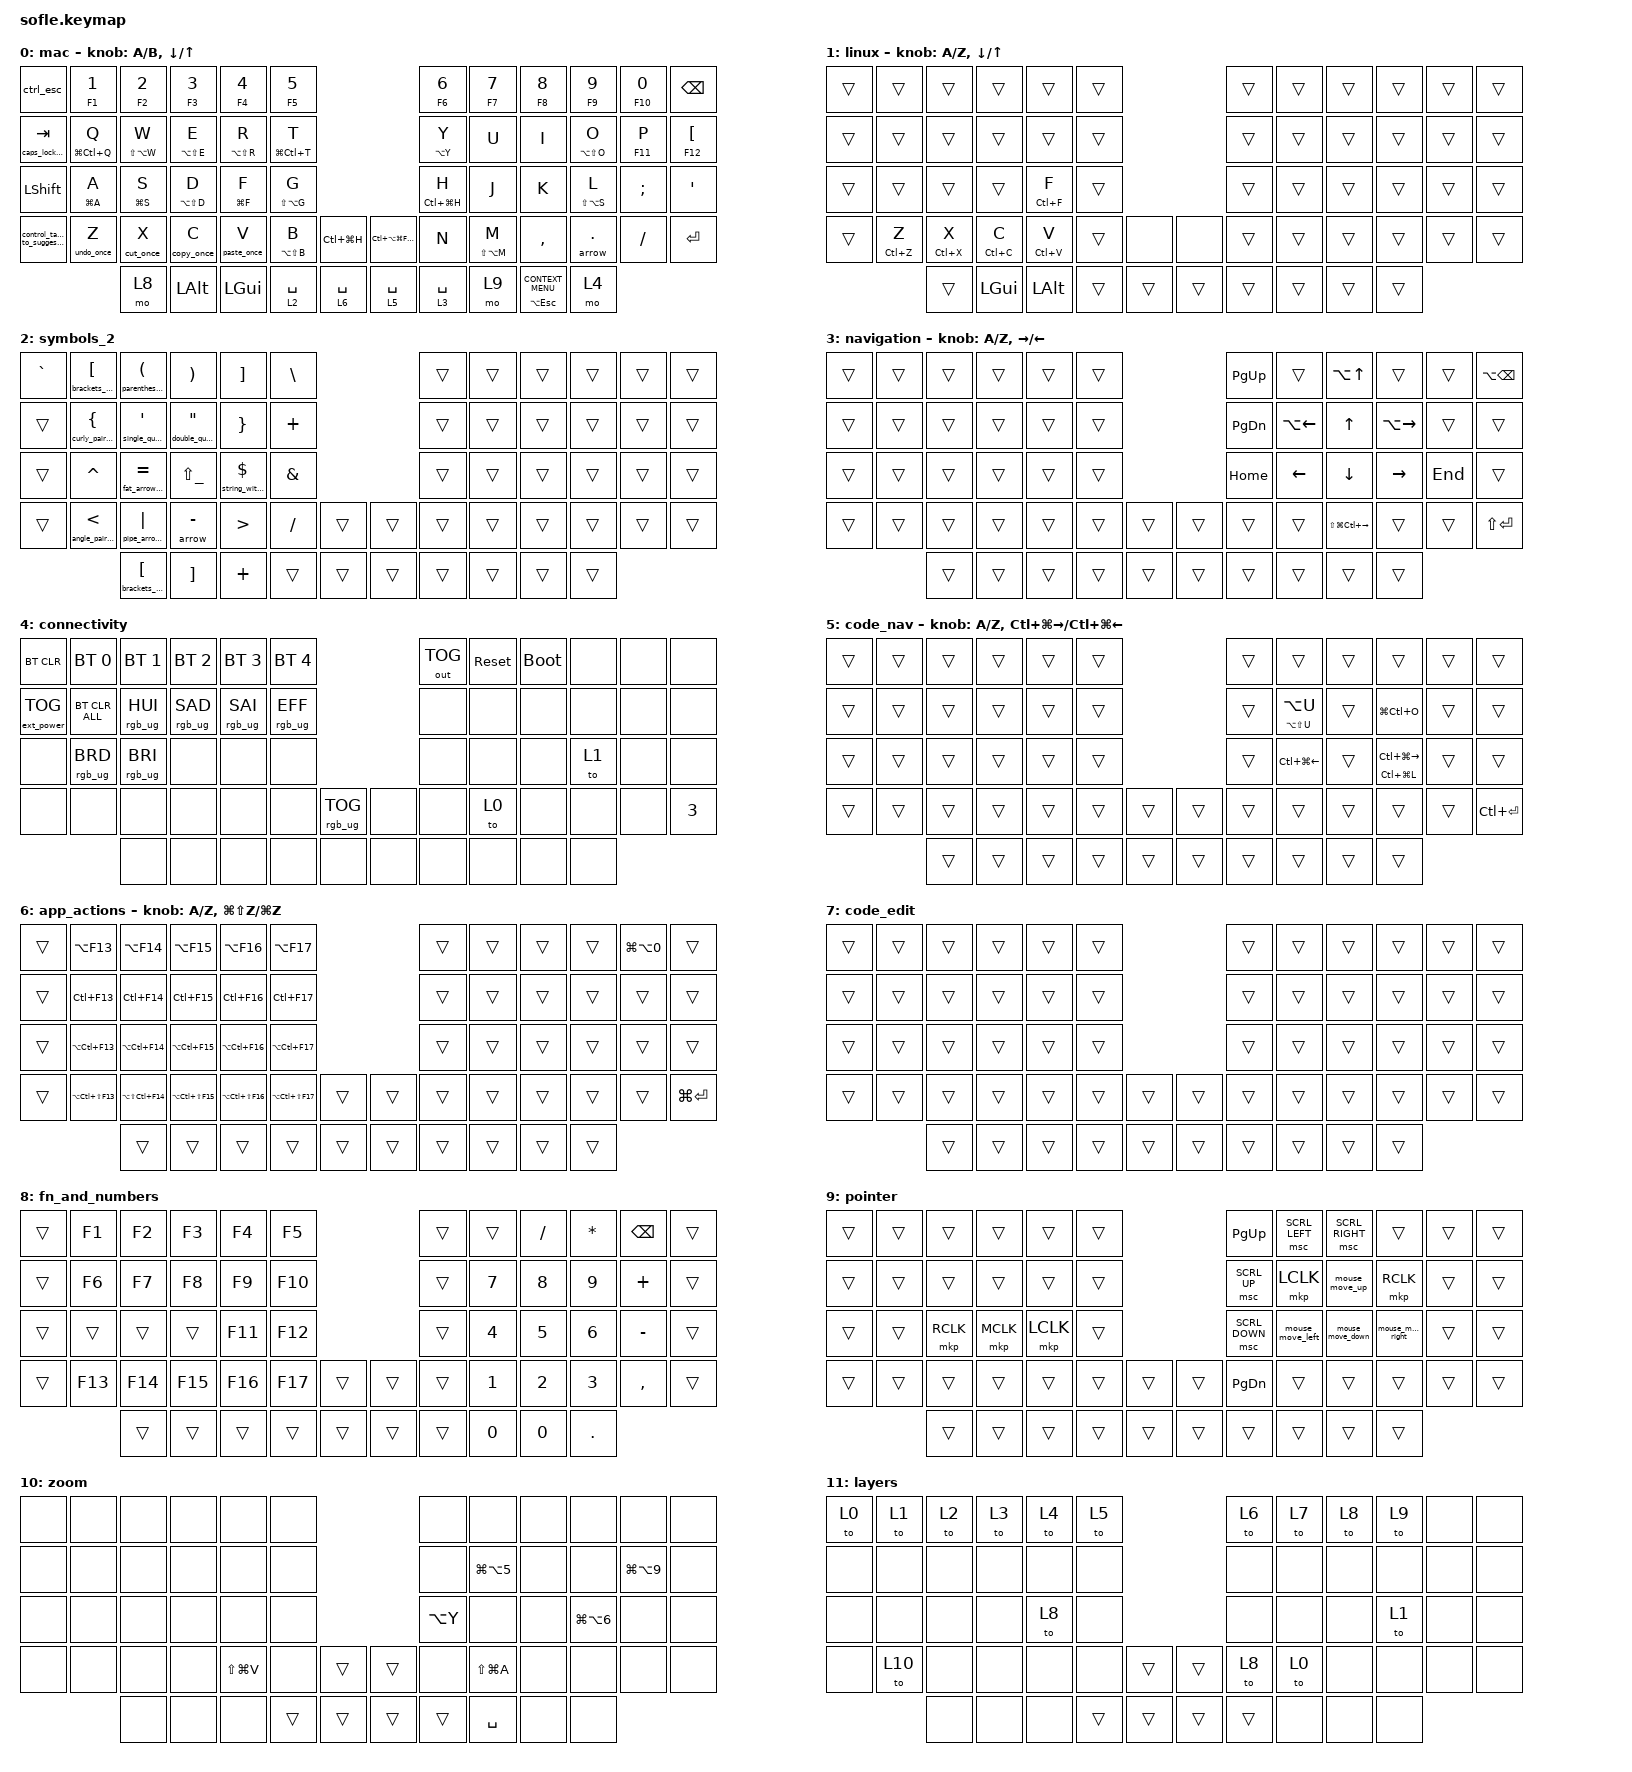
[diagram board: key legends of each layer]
/*
 * Copyright (c) 2020 The ZMK Contributors
 *
 * SPDX-License-Identifier: MIT
 */

#define ZMK_POINTING_DEFAULT_MOVE_VAL 800  // default: 600
#define ZMK_POINTING_DEFAULT_SCRL_VAL 10    // default: 10

#include <behaviors.dtsi>
#include <dt-bindings/zmk/bt.h>
#include <dt-bindings/zmk/ext_power.h>
#include <dt-bindings/zmk/keys.h>
#include <dt-bindings/zmk/outputs.h>
#include <dt-bindings/zmk/pointing.h>
#include <dt-bindings/zmk/pointing.h>
#include <dt-bindings/zmk/pointing.h>
#include <dt-bindings/zmk/rgb.h>

#define OUTPUT_SOURCE_KEYCODE_STATE_CHANGE 3
#define MAC_BASE_LAYER 0
#define LINUX_LAYER 1
#define SYMBOLS_2_LAYER 2
#define NAVIGATION_LAYER 3
#define CONNECTIVITY_LAYER 4
#define CODE_NAVIGATION_LAYER 5
#define SYMBOLS_LAYER 6

&left_encoder { status = "disabled"; };

&right_encoder {
    status = "ok";
    steps = <120>;
};

&sensors { triggers-per-rotation = <30>; };

/ {
    behaviors {
        double_space_to_enter: double_space_to_enter {
            compatible = "zmk,behavior-tap-dance";
            #binding-cells = <0>;
            bindings = <&lt 2 SPACE>, <&kp ENTER>;
        };

        f4_enter: f4_enter {
            compatible = "zmk,behavior-hold-tap";
            bindings = <&kp>, <&kp>;

            #binding-cells = <2>;
            tapping-term-ms = <200>;
        };

        gresc_ctrl: gresc_ctrl {
            compatible = "zmk,behavior-mod-morph";
            bindings = <&kp ESCAPE>, <&kp GRAVE>;

            #binding-cells = <0>;
            mods = <(MOD_LCTL|MOD_LGUI|MOD_LSFT|MOD_LALT)>;
        };

        dot_arrow: dot_arrow {
            compatible = "zmk,behavior-hold-tap";
            bindings = <&arrow>, <&kp>;

            #binding-cells = <2>;
            tapping-term-ms = <200>;
            flavor = "tap-preferred";
        };

        delayed_tap_hold_one: delayed_tap_hold_one {
            compatible = "zmk,behavior-hold-tap";
            bindings = <&kp>, <&kp>;

            #binding-cells = <2>;
            tapping-term-ms = <300>;
            flavor = "tap-preferred";
            require-prior-idle-ms = <200>;
        };

        hold_on_tab_mt: hold_on_tab_mt {
            compatible = "zmk,behavior-hold-tap";
            bindings = <&mt>, <&kp>;

            #binding-cells = <2>;
            tapping-term-ms = <400>;
            flavor = "tap-preferred";
        };

        shift_caps: shift_caps {
            compatible = "zmk,behavior-tap-dance";
            #binding-cells = <0>;
            bindings = <&kp LEFT_SHIFT>, <&kp CAPSLOCK>;
        };

        only_hold: only_hold {
            compatible = "zmk,behavior-hold-tap";
            bindings = <&kp>, <&none>;

            #binding-cells = <2>;
            tapping-term-ms = <400>;
            flavor = "tap-preferred";
        };

        only_tap_none_hold: only_tap_none_hold {
            compatible = "zmk,behavior-hold-tap";
            bindings = <&none>, <&kp>;

            #binding-cells = <2>;
            tapping-term-ms = <200>;
        };

        paste_on_hold_once: paste_on_hold_once {
            compatible = "zmk,behavior-hold-tap";
            bindings = <&paste_once>, <&kp>;

            #binding-cells = <2>;
            flavor = "tap-preferred";
            tapping-term-ms = <150>;
        };

        monosnap_image_copy: monosnap_image_copy {
            compatible = "zmk,behavior-mod-morph";
            bindings = <&kp C>, <&kp LA(LG(C))>;

            #binding-cells = <0>;
            mods = <(MOD_LCTL|MOD_LGUI)>;
        };

        copy_stuff: copy_stuff {
            compatible = "zmk,behavior-hold-tap";
            bindings = <&kp>, <&monosnap_image_copy>;

            #binding-cells = <2>;
            tapping-term-ms = <400>;
            flavor = "tap-preferred";
        };

        enter_shift_enter: enter_shift_enter {
            compatible = "zmk,behavior-hold-tap";
            bindings = <&single_shift_enter>, <&kp>;

            #binding-cells = <2>;
            tapping-term-ms = <200>;
            flavor = "tap-preferred";
        };

        to_layer_on_hold: to_layer_on_hold {
            compatible = "zmk,behavior-hold-tap";
            bindings = <&to>, <&kp>;

            #binding-cells = <2>;
            flavor = "tap-preferred";
            tapping-term-ms = <1000>;
        };

        copy_once_on_hold: copy_once_on_hold {
            compatible = "zmk,behavior-hold-tap";
            bindings = <&copy_once>, <&kp>;

            #binding-cells = <2>;
            flavor = "tap-preferred";
            tapping-term-ms = <150>;
        };

        ctrl_esc: ctrl_esc {
            compatible = "zmk,behavior-mod-morph";
            bindings = <&shift_esc>, <&kp LC(GRAVE)>;

            #binding-cells = <0>;
            mods = <(MOD_LCTL)>;
        };

        shift_esc: shift_esc {
            compatible = "zmk,behavior-mod-morph";
            bindings = <&esc_tapdance>, <&kp TILDE>;

            #binding-cells = <0>;
            mods = <(MOD_LSFT)>;
        };

        esc_tapdance: esc_tapdance {
            compatible = "zmk,behavior-tap-dance";
            #binding-cells = <0>;
            bindings =
                <&kp ESCAPE>,
                <&backtick_wrap>,
                <&triple_backtick>,
                <&triple_backtick_wrap_macro>;

            tapping-term-ms = <300>;
        };

        undo_once_on_hold: undo_once_on_hold {
            compatible = "zmk,behavior-hold-tap";
            bindings = <&undo_once>, <&kp>;

            #binding-cells = <2>;
            flavor = "tap-preferred";
            tapping-term-ms = <150>;
        };

        cut_once_on_hold: cut_once_on_hold {
            compatible = "zmk,behavior-hold-tap";
            bindings = <&cut_once>, <&kp>;

            #binding-cells = <2>;
            flavor = "tap-preferred";
            tapping-term-ms = <150>;
        };

        caps_lock_once_on_hold: caps_lock_once_on_hold {
            compatible = "zmk,behavior-hold-tap";
            bindings = <&caps_lock_once>, <&kp>;

            #binding-cells = <2>;
            flavor = "tap-preferred";
            tapping-term-ms = <200>;
        };

        paste_link_on_hold_once: paste_link_on_hold_once {
            compatible = "zmk,behavior-hold-tap";
            bindings = <&paste_link_macro>, <&kp>;

            #binding-cells = <2>;
            flavor = "tap-preferred";
            tapping-term-ms = <300>;
        };

        insert_bookmark_on_hold_once: insert_bookmark_on_hold_once {
            compatible = "zmk,behavior-hold-tap";
            bindings = <&insert_bookmark_macro>, <&kp>;

            #binding-cells = <2>;
            flavor = "tap-preferred";
            tapping-term-ms = <300>;
        };

        delayed_tap_once_on_hold: delayed_tap_once_on_hold {
            compatible = "zmk,behavior-hold-tap";
            bindings = <&key_once_macro>, <&kp>;

            #binding-cells = <2>;
            tapping-term-ms = <200>;
            flavor = "tap-preferred";
        };

        delayed_tap_once_haptic_on_hold: delayed_tap_once_haptic_on_hold {
            compatible = "zmk,behavior-hold-tap";
            bindings = <&key_once_haptic_macro>, <&kp>;

            #binding-cells = <2>;
            tapping-term-ms = <250>;
            flavor = "tap-preferred";
        };

        lra0_bump: lra0_bump {
            compatible = "zmk,output-behavior-generic";
            #binding-cells = <0>;
            device = <&lra0>;

            /* force will be convrt to waveformm effect from DRV2605 library */
            /* NOTE: <7> is Soft Bump at 100% */

            force = <25>;
        };

        lra0_bump_listener: lra0_bump_listener {
            compatible = "zmk,output-behavior-listener";
            layers = < 0 1 2 >;
            sources = < OUTPUT_SOURCE_KEYCODE_STATE_CHANGE >;
            #binding-cells = <0>;

            /* set keycode filter here */

            position = < 0x73 >;
            bindings = < &lra0_bump >;

            /* enable to catch all state change that include key press and release */
            /* ensure to stop on-going LRA effect immediately on key released */

            all-state;
        };

        mouse_move_up: mouse_move_up {
            compatible = "zmk,behavior-mod-morph";
            bindings = <&mmv MOVE_UP>, <&mmv MOVE_Y(-3000)>;

            #binding-cells = <0>;
            mods = <(MOD_LCTL)>;
        };

        mouse_move_right: mouse_move_right {
            compatible = "zmk,behavior-mod-morph";
            bindings = <&mmv MOVE_RIGHT>, <&mmv MOVE_X(3000)>;

            #binding-cells = <0>;
            mods = <(MOD_LCTL)>;
        };

        mouse_move_down: mouse_move_down {
            compatible = "zmk,behavior-mod-morph";
            bindings = <&mmv MOVE_DOWN>, <&mmv MOVE_Y(3000)>;

            #binding-cells = <0>;
            mods = <(MOD_LCTL)>;
        };

        mouse_move_left: mouse_move_left {
            compatible = "zmk,behavior-mod-morph";
            bindings = <&mmv MOVE_LEFT>, <&mmv MOVE_X(-3000)>;

            #binding-cells = <0>;
            mods = <(MOD_LCTL)>;
        };

        parenthesis_pair_on_hold: parenthesis_pair_on_hold {
            compatible = "zmk,behavior-hold-tap";
            bindings = <&parenthesis_pair_macro>, <&kp>;

            #binding-cells = <2>;
            tapping-term-ms = <200>;
            flavor = "tap-preferred";
        };

        brackets_pair_on_hold: brackets_pair_on_hold {
            compatible = "zmk,behavior-hold-tap";
            bindings = <&brackets_pair_macro>, <&kp>;

            #binding-cells = <2>;
            tapping-term-ms = <200>;
            flavor = "tap-preferred";
        };

        angle_pair_on_hold: angle_pair_on_hold {
            compatible = "zmk,behavior-hold-tap";
            bindings = <&angle_pair_macro>, <&kp>;

            #binding-cells = <2>;
            tapping-term-ms = <200>;
            flavor = "tap-preferred";
        };

        curly_pair_on_hold: curly_pair_on_hold {
            compatible = "zmk,behavior-hold-tap";
            bindings = <&curly_pair_macro>, <&kp>;

            #binding-cells = <2>;
            tapping-term-ms = <200>;
            flavor = "tap-preferred";
        };

        double_quote_pair_on_hold: double_quote_pair_on_hold {
            compatible = "zmk,behavior-hold-tap";
            bindings = <&double_quote_pair_macro>, <&kp>;

            #binding-cells = <2>;
            tapping-term-ms = <200>;
            flavor = "tap-preferred";
        };

        control_tapdance_to_suggestion: control_tapdance_to_suggestion {
            compatible = "zmk,behavior-tap-dance";
            label = "CONTROL_TAPDANCE_TO_SUGGESTION";
            #binding-cells = <0>;
            bindings = <&kp LCTRL>, <&kp LC(SPACE)>;

            tapping-term-ms = <250>;
        };

        long_delayed_tap_once_on_hold: long_delayed_tap_once_on_hold {
            compatible = "zmk,behavior-hold-tap";
            bindings = <&key_once_macro>, <&kp>;

            #binding-cells = <2>;
            tapping-term-ms = <500>;
            flavor = "tap-preferred";
            label = "LONG_DELAYED_TAP_ONCE_ON_HOLD";
        };

        fat_arrow_on_hold: fat_arrow_on_hold {
            compatible = "zmk,behavior-hold-tap";
            bindings = <&fat_arrow_macro>, <&kp>;

            #binding-cells = <2>;
            tapping-term-ms = <200>;
            flavor = "tap-preferred";
            label = "FAT_ARROW_ON_HOLD";
        };

        pipe_arrow_on_hold: pipe_arrow_on_hold {
            compatible = "zmk,behavior-hold-tap";
            bindings = <&pipe_arrow_macro>, <&kp>;

            #binding-cells = <2>;
            tapping-term-ms = <200>;
            flavor = "tap-preferred";
            label = "PIPE_ARROW_ON_HOLD";
        };

        string_with_var_on_hold: string_with_var_on_hold {
            compatible = "zmk,behavior-hold-tap";
            bindings = <&string_with_var_macro>, <&kp>;

            #binding-cells = <2>;
            tapping-term-ms = <200>;
            flavor = "tap-preferred";
            label = "STRING_WITH_VAR_ON_HOLD";
        };

        single_quote_pair_on_hold: single_quote_pair_on_hold {
            compatible = "zmk,behavior-hold-tap";
            bindings = <&single_quote_pair_macro>, <&kp>;

            #binding-cells = <2>;
            tapping-term-ms = <200>;
            flavor = "tap-preferred";
            label = "SINGLE_QUOTE_PAIR_ON_HOLD";
        };
    };

    macros {
        arrow: arrow {
            compatible = "zmk,behavior-macro";
            #binding-cells = <0>;
            bindings = <&kp MINUS &kp GT &kp LC(SPACE)>;
        };

        paste_once: paste_plain {
            compatible = "zmk,behavior-macro";
            #binding-cells = <0>;
            bindings = <&kp LG(V) &kp F24>;
        };

        single_shift_enter: single_shift_enter {
            compatible = "zmk,behavior-macro";
            #binding-cells = <0>;
            bindings = <&kp LS(ENTER)>;
        };

        copy_once: copy_once {
            compatible = "zmk,behavior-macro";
            #binding-cells = <0>;
            bindings = <&kp LG(C) &kp F24>;
        };

        triple_backtick: triple_backtick {
            compatible = "zmk,behavior-macro";
            #binding-cells = <0>;
            bindings = <&kp GRAVE &kp GRAVE &kp GRAVE>;
        };

        backtick_wrap: backtick_wrap {
            compatible = "zmk,behavior-macro";
            #binding-cells = <0>;
            bindings = <&kp LG(X) &kp GRAVE &kp GRAVE &kp LEFT_ARROW &kp LG(V)>;
        };

        undo_once: undo_once {
            compatible = "zmk,behavior-macro";
            #binding-cells = <0>;
            bindings = <&kp LG(Z) &kp F24>;
        };

        cut_once: cut_once {
            compatible = "zmk,behavior-macro";
            #binding-cells = <0>;
            bindings = <&kp LG(X) &kp F24>;
        };

        caps_lock_once: caps_lock_once {
            compatible = "zmk,behavior-macro";
            #binding-cells = <0>;
            bindings = <&kp CAPSLOCK &kp F24>;
        };

        paste_link_macro: paste_link_macro {
            compatible = "zmk,behavior-macro";
            #binding-cells = <0>;
            bindings =
                <&kp LG(K)>,
                <&macro_wait_time 200>,
                <&kp LG(V) &kp ENTER>;
        };

        insert_bookmark_macro: insert_bookmark {
            compatible = "zmk,behavior-macro";
            #binding-cells = <0>;
            bindings = <&kp LC(LA(I))>, <&macro_wait_time 200>, <&kp B &kp F24>;
        };

        triple_backtick_wrap_macro: triple_backtick_wrap_macro {
            compatible = "zmk,behavior-macro";
            #binding-cells = <0>;
            bindings = <&kp LG(X) &kp GRAVE &kp GRAVE &kp GRAVE &kp LS(ENTER) &kp LG(V) &kp LS(ENTER) &kp GRAVE &kp GRAVE &kp GRAVE>;
        };

        docs_reset_format_macro: docs_reset_format_macro {
            compatible = "zmk,behavior-macro";
            #binding-cells = <0>;
            bindings = <&none>;
        };

        docs_wrap_text_macro: docs_wrap_text_macro {
            compatible = "zmk,behavior-macro";
            #binding-cells = <0>;
            bindings = <&kp LC(LA(O)) &kp W &kp W>;
        };

        key_once_macro: key_once_macro {
            compatible = "zmk,behavior-macro-one-param";
            #binding-cells = <1>;
            bindings = <&macro_param_1to1 &kp MACRO_PLACEHOLDER>;
        };

        key_once_haptic_macro: key_once_haptic_macro {
            compatible = "zmk,behavior-macro-one-param";
            #binding-cells = <1>;
            bindings = <&macro_param_1to1 &kp MACRO_PLACEHOLDER &kp F24>;
        };

        parenthesis_pair_macro: parenthesis_pair_macro {
            compatible = "zmk,behavior-macro";
            #binding-cells = <0>;
            bindings = <&kp LPAR &kp RPAR &kp LEFT &kp F24>;
        };

        brackets_pair_macro: brackets_pair_macro {
            compatible = "zmk,behavior-macro";
            #binding-cells = <0>;
            bindings = <&kp LEFT_BRACKET &kp RIGHT_BRACKET &kp LEFT &kp F24>;
        };

        angle_pair_macro: angle_pair_macro {
            compatible = "zmk,behavior-macro";
            #binding-cells = <0>;
            bindings = <&kp LT &kp GT &kp LEFT &kp F24>;
        };

        curly_pair_macro: curly_pair_macro {
            compatible = "zmk,behavior-macro";
            #binding-cells = <0>;
            bindings = <&kp LS(LBRC) &kp RBRC &kp LEFT &kp F24>;
        };

        double_quote_pair_macro: double_quote_pair_macro {
            compatible = "zmk,behavior-macro";
            #binding-cells = <0>;
            bindings = <&kp DQT &kp DQT &kp LEFT &kp F24>;
        };

        fat_arrow_macro: fat_arrow_macro {
            compatible = "zmk,behavior-macro";
            #binding-cells = <0>;
            bindings = <&kp KP_EQUAL &kp GREATER_THAN &kp F24>;
            label = "FAT_ARROW_MACRO";
        };

        pipe_arrow_macro: pipe_arrow_macro {
            compatible = "zmk,behavior-macro";
            #binding-cells = <0>;
            bindings = <&kp PIPE &kp GREATER_THAN &kp F24>;
            label = "PIPE_ARROW_MACRO";
        };

        string_with_var_macro: string_with_var_macro {
            compatible = "zmk,behavior-macro";
            #binding-cells = <0>;
            bindings = <&kp DOLLAR &kp LEFT_BRACE &kp RIGHT_BRACE &kp LEFT &kp F24>;
            label = "STRING_WITH_VAR_MACRO";
        };

        single_quote_pair_macro: single_quote_pair_macro {
            compatible = "zmk,behavior-macro";
            #binding-cells = <0>;
            bindings = <&kp SQT &kp SQT &kp LEFT &kp F24>;
            label = "SINGLE_QUOTE_PAIR_MACRO";
        };
    };

    combos {
        compatible = "zmk,combos";

        shift_tab_caps {
            bindings = <&kp CAPSLOCK>;
            key-positions = <>;
            layers = <0>;
        };

        mo_docs_layer {
            bindings = <&mo 6>;
            key-positions = <54 53>;
            timeout-ms = <100>;
        };

        code_edit {
            bindings = <&mo 7>;
            key-positions = <56 55>;
            timeout-ms = <100>;
        };
    };

    keymap {
        compatible = "zmk,keymap";

        mac {
            display-name = "mac";
            bindings = <
&ctrl_esc                        &delayed_tap_once_on_hold F1 N1           &delayed_tap_once_on_hold F2 N2           &delayed_tap_once_on_hold F3 N3    &delayed_tap_once_on_hold F4 N4           &delayed_tap_once_on_hold F5 N5                                          &delayed_tap_once_on_hold F6 N6               &delayed_tap_once_on_hold F7 N7    &delayed_tap_once_on_hold F8 N8                      &delayed_tap_once_on_hold F9 N9             &delayed_tap_once_on_hold F10 N0  &kp BACKSPACE
&caps_lock_once_on_hold 0 TAB    &delayed_tap_hold_one LG(LC(Q)) Q         &delayed_tap_hold_one LS(LA(W)) W         &delayed_tap_hold_one LA(LS(E)) E  &delayed_tap_hold_one LA(LS(R)) R         &delayed_tap_hold_one LG(LC(T)) T                                        &delayed_tap_hold_one LA(Y) Y                 &kp U                              &kp I                                                &delayed_tap_hold_one LA(LS(O)) O           &delayed_tap_once_on_hold F11 P   &delayed_tap_once_on_hold F12 LEFT_BRACKET
&kp LEFT_SHIFT                   &delayed_tap_once_haptic_on_hold LG(A) A  &delayed_tap_once_haptic_on_hold LG(S) S  &delayed_tap_hold_one LA(LS(D)) D  &delayed_tap_once_haptic_on_hold LG(F) F  &delayed_tap_hold_one LS(LA(G)) G                                        &delayed_tap_once_haptic_on_hold LC(LG(H)) H  &kp J                              &kp K                                                &long_delayed_tap_once_on_hold LS(LA(S)) L  &kp SEMI                          &kp SQT
&control_tapdance_to_suggestion  &undo_once_on_hold 0 Z                    &cut_once_on_hold 0 X                     &copy_once_on_hold 0 C             &paste_on_hold_once 0 V                   &delayed_tap_hold_one LA(LS(B)) B  &kp LC(LG(H))    &kp LC(LA(LG(F13)))  &kp N                                         &delayed_tap_hold_one LS(LA(M)) M  &kp COMMA                                            &dot_arrow 0 DOT                            &kp FSLH                          &kp ENTER
                                                                           &mo 8                                     &kp LALT                           &kp LEFT_GUI                              &lt 2 SPACE                        &lt 6 SPACE      &lt 5 SPACE          &lt 3 SPACE                                   &mo 9                              &delayed_tap_once_on_hold LA(ESCAPE) K_CONTEXT_MENU  &mo 4
            >;

            sensor-bindings = <&inc_dec_kp A B>, <&inc_dec_kp DOWN UP>;
        };

        linux {
            display-name = "linux";
            bindings = <
&trans  &trans                                    &trans                                    &trans                                    &trans                                    &trans                    &trans  &trans  &trans  &trans  &trans  &trans
&trans  &trans                                    &trans                                    &trans                                    &trans                                    &trans                    &trans  &trans  &trans  &trans  &trans  &trans
&trans  &trans                                    &trans                                    &trans                                    &delayed_tap_once_haptic_on_hold LC(F) F  &trans                    &trans  &trans  &trans  &trans  &trans  &trans
&trans  &delayed_tap_once_haptic_on_hold LC(Z) Z  &delayed_tap_once_haptic_on_hold LC(X) X  &delayed_tap_once_haptic_on_hold LC(C) C  &delayed_tap_once_haptic_on_hold LC(V) V  &trans  &none     &none   &trans  &trans  &trans  &trans  &trans  &trans
                                                  &trans                                    &kp LGUI                                  &kp LALT                                  &trans  &trans    &trans  &trans  &trans  &trans  &trans
            >;

            sensor-bindings = <&inc_dec_kp A Z>, <&inc_dec_kp DOWN UP>;
        };

        symbols_2 {
            display-name = "symbols_2";
            bindings = <
&kp GRAVE  &brackets_pair_on_hold 0 LEFT_BRACKET  &parenthesis_pair_on_hold 0 LPAR       &kp RPAR                          &kp RIGHT_BRACKET                  &kp BSLH                     &trans  &trans  &trans  &trans  &trans  &trans
&trans     &curly_pair_on_hold 0 LBRC             &single_quote_pair_on_hold 0 SQT       &double_quote_pair_on_hold 0 DQT  &kp RBRC                           &kp PLUS                     &trans  &trans  &trans  &trans  &trans  &trans
&trans     &kp CARET                              &fat_arrow_on_hold 0 EQUAL             &kp LS(UNDER)                     &string_with_var_on_hold 0 DOLLAR  &kp AMPS                     &trans  &trans  &trans  &trans  &trans  &trans
&trans     &angle_pair_on_hold 0 LT               &pipe_arrow_on_hold 0 PIPE             &dot_arrow 0 MINUS                &kp GT                             &kp SLASH  &trans    &trans  &trans  &trans  &trans  &trans  &trans  &trans
                                                  &brackets_pair_on_hold 0 LEFT_BRACKET  &kp RIGHT_BRACKET                 &kp PLUS                           &trans     &trans    &trans  &trans  &trans  &trans  &trans
            >;
        };

        navigation {
            display-name = "navigation";
            bindings = <
&trans  &trans  &trans  &trans  &trans  &trans                    &kp PG_UP  &trans        &kp LA(UP)             &trans         &trans   &kp LA(BACKSPACE)
&trans  &trans  &trans  &trans  &trans  &trans                    &kp PG_DN  &kp LA(LEFT)  &kp UP                 &kp LA(RIGHT)  &trans   &trans
&trans  &trans  &trans  &trans  &trans  &trans                    &kp HOME   &kp LEFT      &kp DOWN               &kp RIGHT      &kp END  &trans
&trans  &trans  &trans  &trans  &trans  &trans  &trans    &trans  &trans     &trans        &kp LS(LG(LC(RIGHT)))  &trans         &trans   &kp LS(ENTER)
                &trans  &trans  &trans  &trans  &trans    &trans  &trans     &trans        &trans                 &trans
            >;

            sensor-bindings = <&inc_dec_kp A Z>, <&inc_dec_kp RIGHT LEFT>;
        };

        connectivity {
            display-name = "connectivity";
            bindings = <
&bt BT_CLR         &bt BT_SEL 0     &bt BT_SEL 1     &bt BT_SEL 2     &bt BT_SEL 3     &bt BT_SEL 4                               &out OUT_TOG  &sys_reset  &bootloader  &none  &none  &none
&ext_power EP_TOG  &bt BT_CLR_ALL   &rgb_ug RGB_HUI  &rgb_ug RGB_SAD  &rgb_ug RGB_SAI  &rgb_ug RGB_EFF                            &none         &none       &none        &none  &none  &none
&none              &rgb_ug RGB_BRD  &rgb_ug RGB_BRI  &none            &none            &none                                      &none         &none       &none        &to 1  &none  &none
&none              &none            &none            &none            &none            &none            &rgb_ug RGB_TOG    &none  &none         &to 0       &none        &none  &none  &kp N3
                                    &none            &none            &none            &none            &none              &none  &none         &none       &none        &none
            >;
        };

        code_nav {
            bindings = <
&trans  &trans  &trans  &trans  &trans  &trans                    &trans  &trans               &trans  &trans                                         &trans  &trans
&trans  &trans  &trans  &trans  &trans  &trans                    &trans  &mt LA(LS(U)) LA(U)  &trans  &kp LG(LC(O))                                  &trans  &trans
&trans  &trans  &trans  &trans  &trans  &trans                    &trans  &kp LC(LG(LEFT))     &trans  &delayed_tap_hold_one LC(LG(L)) LC(LG(RIGHT))  &trans  &trans
&trans  &trans  &trans  &trans  &trans  &trans  &trans    &trans  &trans  &trans               &trans  &trans                                         &trans  &kp LC(ENTER)
                &trans  &trans  &trans  &trans  &trans    &trans  &trans  &trans               &trans  &trans
            >;

            sensor-bindings =
                <&inc_dec_kp A Z>,
                <&inc_dec_kp LC(LG(RIGHT)) LC(LG(LEFT))>;
        };

        app_actions {
            bindings = <
&trans  &kp LA(F13)          &kp LA(F14)          &kp LA(F15)          &kp LA(F16)          &kp LA(F17)                            &trans  &trans  &trans  &trans  &kp LG(LA(N0))  &trans
&trans  &kp LC(F13)          &kp LC(F14)          &kp LC(F15)          &kp LC(F16)          &kp LC(F17)                            &trans  &trans  &trans  &trans  &trans          &trans
&trans  &kp LA(LC(F13))      &kp LA(LC(F14))      &kp LA(LC(F15))      &kp LA(LC(F16))      &kp LA(LC(F17))                        &trans  &trans  &trans  &trans  &trans          &trans
&trans  &kp LA(LC(LS(F13)))  &kp LA(LS(LC(F14)))  &kp LA(LC(LS(F15)))  &kp LA(LC(LS(F16)))  &kp LA(LC(LS(F17)))  &trans    &trans  &trans  &trans  &trans  &trans  &trans          &kp LG(ENTER)
                             &trans               &trans               &trans               &trans               &trans    &trans  &trans  &trans  &trans  &trans
            >;

            sensor-bindings = <&inc_dec_kp A Z>, <&inc_dec_kp LG(LS(Z)) LG(Z)>;
        };

        code_edit {
            bindings = <
&trans  &trans  &trans  &trans  &trans  &trans                    &trans  &trans  &trans  &trans  &trans  &trans
&trans  &trans  &trans  &trans  &trans  &trans                    &trans  &trans  &trans  &trans  &trans  &trans
&trans  &trans  &trans  &trans  &trans  &trans                    &trans  &trans  &trans  &trans  &trans  &trans
&trans  &trans  &trans  &trans  &trans  &trans  &trans    &trans  &trans  &trans  &trans  &trans  &trans  &trans
                &trans  &trans  &trans  &trans  &trans    &trans  &trans  &trans  &trans  &trans
            >;
        };

        fn_and_numbers {
            bindings = <
&trans  &kp F1   &kp F2   &kp F3   &kp F4   &kp F5                     &trans  &trans        &kp FSLH      &kp ASTERISK  &kp BSPC   &trans
&trans  &kp F6   &kp F7   &kp F8   &kp F9   &kp F10                    &trans  &kp N7        &kp N8        &kp N9        &kp PLUS   &trans
&trans  &trans   &trans   &trans   &kp F11  &kp F12                    &trans  &kp N4        &kp N5        &kp N6        &kp MINUS  &trans
&trans  &kp F13  &kp F14  &kp F15  &kp F16  &kp F17  &trans    &trans  &trans  &kp NUMBER_1  &kp N2        &kp NUMBER_3  &kp COMMA  &trans
                 &trans   &trans   &trans   &trans   &trans    &trans  &trans  &kp N0        &kp NUMBER_0  &kp DOT
            >;
        };

        pointer {
            bindings = <
&trans  &trans  &trans     &trans     &trans     &trans                    &kp PAGE_UP     &msc SCRL_LEFT    &msc SCRL_RIGHT   &trans             &trans  &trans
&trans  &trans  &trans     &trans     &trans     &trans                    &msc SCRL_UP    &mkp LCLK         &mouse_move_up    &mkp RCLK          &trans  &trans
&trans  &trans  &mkp RCLK  &mkp MCLK  &mkp LCLK  &trans                    &msc SCRL_DOWN  &mouse_move_left  &mouse_move_down  &mouse_move_right  &trans  &trans
&trans  &trans  &trans     &trans     &trans     &trans  &trans    &trans  &kp PAGE_DOWN   &trans            &trans            &trans             &trans  &trans
                &trans     &trans     &trans     &trans  &trans    &trans  &trans          &trans            &trans            &trans
            >;
        };

        zoom {
            bindings = <
&none  &none  &none  &none  &none          &none                     &none      &none           &none  &none           &none           &none
&none  &none  &none  &none  &none          &none                     &none      &kp LG(LA(N5))  &none  &none           &kp LG(LA(N9))  &none
&none  &none  &none  &none  &none          &none                     &kp LA(Y)  &none           &none  &kp LG(LA(N6))  &none           &none
&none  &none  &none  &none  &kp LS(LG(V))  &none   &trans    &trans  &none      &kp LS(LG(A))   &none  &none           &none           &none
              &none  &none  &none          &trans  &trans    &trans  &trans     &kp SPACE       &none  &none
            >;
        };

        layers {
            bindings = <
&to 0  &to 1   &to 2  &to 3  &to 4  &to 5                     &to 6   &to 7  &to 8  &to 9  &none  &none
&none  &none   &none  &none  &none  &none                     &none   &none  &none  &none  &none  &none
&none  &none   &none  &none  &to 8  &none                     &none   &none  &none  &to 1  &none  &none
&none  &to 10  &none  &none  &none  &none   &trans    &trans  &to 8   &to 0  &none  &none  &none  &none
               &none  &none  &none  &trans  &trans    &trans  &trans  &none  &none  &none
            >;
        };
    };

    conditional_layers {
        compatible = "zmk,conditional-layers";

        to_layers_layer {
            if-layers = <6 5>;
            then-layer = <11>;
        };
    };
};
